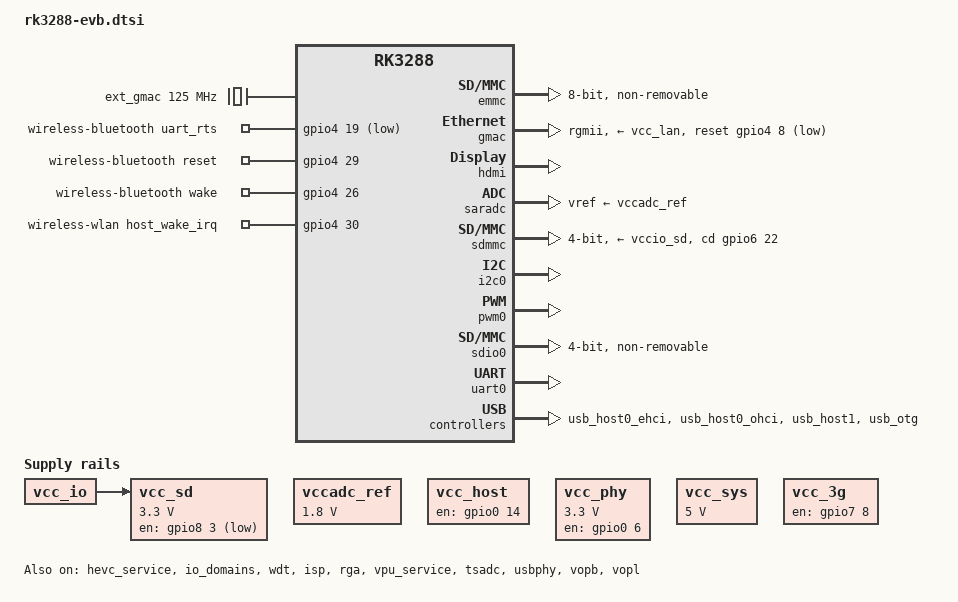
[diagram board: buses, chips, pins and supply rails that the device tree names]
/*
 * Copyright (c) 2015~2017 Fuzhou Rockchip Electronics Co., Ltd
 *
 * This file is dual-licensed: you can use it either under the terms
 * of the GPL or the X11 license, at your option. Note that this dual
 * licensing only applies to this file, and not this project as a
 * whole.
 *
 *  a) This file is free software; you can redistribute it and/or
 *     modify it under the terms of the GNU General Public License as
 *     published by the Free Software Foundation; either version 2 of the
 *     License, or (at your option) any later version.
 *
 *     This file is distributed in the hope that it will be useful,
 *     but WITHOUT ANY WARRANTY; without even the implied warranty of
 *     MERCHANTABILITY or FITNESS FOR A PARTICULAR PURPOSE.  See the
 *     GNU General Public License for more details.
 *
 * Or, alternatively,
 *
 *  b) Permission is hereby granted, free of charge, to any person
 *     obtaining a copy of this software and associated documentation
 *     files (the "Software"), to deal in the Software without
 *     restriction, including without limitation the rights to use,
 *     copy, modify, merge, publish, distribute, sublicense, and/or
 *     sell copies of the Software, and to permit persons to whom the
 *     Software is furnished to do so, subject to the following
 *     conditions:
 *
 *     The above copyright notice and this permission notice shall be
 *     included in all copies or substantial portions of the Software.
 *
 *     THE SOFTWARE IS PROVIDED "AS IS", WITHOUT WARRANTY OF ANY KIND,
 *     EXPRESS OR IMPLIED, INCLUDING BUT NOT LIMITED TO THE WARRANTIES
 *     OF MERCHANTABILITY, FITNESS FOR A PARTICULAR PURPOSE AND
 *     NONINFRINGEMENT. IN NO EVENT SHALL THE AUTHORS OR COPYRIGHT
 *     HOLDERS BE LIABLE FOR ANY CLAIM, DAMAGES OR OTHER LIABILITY,
 *     WHETHER IN AN ACTION OF CONTRACT, TORT OR OTHERWISE, ARISING
 *     FROM, OUT OF OR IN CONNECTION WITH THE SOFTWARE OR THE USE OR
 *     OTHER DEALINGS IN THE SOFTWARE.
 */

#include <dt-bindings/pwm/pwm.h>
#include <dt-bindings/input/input.h>
#include "rk3288.dtsi"

/ {
	edp_panel: edp-panel {
		status = "disabled";

		ports {
			panel_in_edp: endpoint {
				remote-endpoint = <&edp_out_panel>;
			};
		};
	};

	lvds_panel: lvds-panel {
		status = "disabled";
		pinctrl-0 = <&lcd_cs>;
		ports {
			panel_in_lvds: endpoint {
				remote-endpoint = <&lvds_out_panel>;
			};
		};
	};

	ext_gmac: external-gmac-clock {
		compatible = "fixed-clock";
		clock-frequency = <125000000>;
		clock-output-names = "ext_gmac";
		#clock-cells = <0>;
	};

	vccadc_ref: vccadc-ref {
		compatible = "regulator-fixed";
		regulator-name = "vcc1v8_sys";
		regulator-always-on;
		regulator-boot-on;
		regulator-min-microvolt = <1800000>;
		regulator-max-microvolt = <1800000>;
	};

	/* This turns on USB vbus for both host0 (ehci) and host1 (dwc2) */
	vcc_host: vcc-host-regulator {
		compatible = "regulator-fixed";
		enable-active-high;
		gpio = <&gpio0 14 GPIO_ACTIVE_HIGH>;
		pinctrl-names = "default";
		pinctrl-0 = <&host_vbus_drv>;
		regulator-name = "vcc_host";
		regulator-always-on;
		regulator-boot-on;
	};

	vcc_phy: vcc-phy-regulator {
		compatible = "regulator-fixed";
		enable-active-high;
		gpio = <&gpio0 6 GPIO_ACTIVE_HIGH>;
		pinctrl-names = "default";
		pinctrl-0 = <&eth_phy_pwr>;
		regulator-name = "vcc_phy";
		regulator-min-microvolt = <3300000>;
		regulator-max-microvolt = <3300000>;
		regulator-always-on;
		regulator-boot-on;
	};

	vcc_sys: vsys-regulator {
		compatible = "regulator-fixed";
		regulator-name = "vcc_sys";
		regulator-min-microvolt = <5000000>;
		regulator-max-microvolt = <5000000>;
		regulator-always-on;
		regulator-boot-on;
	};

	/* This switch DIO3222 HOST_DP_HOST to host2 (dwc2) */
	vcc_3g: vcc-3g-regulator {
		compatible = "regulator-fixed";
		enable-active-high;
		gpio = <&gpio7 8 GPIO_ACTIVE_HIGH>;
		pinctrl-names = "default";
		pinctrl-0 = <&pwr_3g>;
		regulator-name = "vcc_3g";
	};

	/*
	 * NOTE: vcc_sd isn't hooked up on v1.0 boards where power comes from
	 * vcc_io directly.  Those boards won't be able to power cycle SD cards
	 * but it shouldn't hurt to toggle this pin there anyway.
	 */
	vcc_sd: sdmmc-regulator {
		compatible = "regulator-fixed";
		pinctrl-names = "default";
		gpio = <&gpio8 3 GPIO_ACTIVE_HIGH>;
		pinctrl-0 = <&sdmmc_pwr>;
		regulator-name = "vcc_sd";
		regulator-min-microvolt = <3300000>;
		regulator-max-microvolt = <3300000>;
		startup-delay-us = <100000>;
		vin-supply = <&vcc_io>;
	};
	
	/*adc-keys {
		compatible = "adc-keys";
		io-channels = <&saradc 1>;
		io-channel-names = "buttons";
		poll-interval = <100>;
		keyup-threshold-microvolt = <200000>;

		button-up {
			label = "Volume Up";
			linux,code = <KEY_VOLUMEUP>;
			press-threshold-microvolt = <18000>;
		};
	};*/

	wireless-bluetooth {
		compatible = "bluetooth-platdata";
		uart_rts_gpios = <&gpio4 19 GPIO_ACTIVE_LOW>;
		pinctrl-names = "default", "rts_gpio";
		pinctrl-0 = <&uart0_rts>;
		pinctrl-1 = <&uart0_gpios>;
		BT,reset_gpio    = <&gpio4 29 GPIO_ACTIVE_HIGH>;
		BT,wake_gpio     = <&gpio4 26 GPIO_ACTIVE_HIGH>;
		//BT,wake_host_irq = <&gpio4 31 GPIO_ACTIVE_HIGH>;
		status = "okay";
	};

	wireless-wlan {
		compatible = "wlan-platdata";
		rockchip,grf = <&grf>;
		wifi_chip_type = "ap6255";
		sdio_vref = <1800>;
		WIFI,host_wake_irq = <&gpio4 30 GPIO_ACTIVE_HIGH>;
		status = "okay";
	};
};

&emmc {
	bus-width = <8>;
	cap-mmc-highspeed;
	disable-wp;
	non-removable;
	num-slots = <1>;
	pinctrl-names = "default";
	pinctrl-0 = <&emmc_clk &emmc_cmd &emmc_pwr &emmc_bus8>;
	max-frequency = <100000000>;
	mmc-hs200-1_8v;
	mmc-ddr-1_8v;
	status = "okay";
};

&gmac {
	phy-supply = <&vcc_lan>;
	phy-mode = "rgmii";
	clock_in_out = "input";
	snps,reset-gpio = <&gpio4 8 0>;
	snps,reset-active-low;
	snps,force_thresh_dma_mode;
	snps,reset-delays-us = <0 10000 1000000>;
	assigned-clocks = <&cru SCLK_MAC>;
	assigned-clock-parents = <&ext_gmac>;
	pinctrl-names = "default";
	pinctrl-0 = <&rgmii_pins &phy_rst &phy_pmeb &phy_int>;
	tx_delay = <0x20>;
	rx_delay = <0x14>;
	max-speed = <1000>;
	status = "ok";
};

&hdmi {
	#address-cells = <1>;
	#size-cells = <0>;
	#sound-dai-cells = <0>;
	status = "okay";
};

&saradc {
	vref-supply = <&vccadc_ref>;
	status = "okay";
};

&sdmmc {
	clock-frequency = <50000000>;
	supports-sd;
	bus-width = <4>;
	cap-mmc-highspeed; 
	cap-sd-highspeed;
	//sd-uhs-sdr104;
	cd-gpios = <&gpio6 22 GPIO_ACTIVE_HIGH>;/*CD GPIO*/
	broken-cd;
	card-detect-delay = <200>;
	vqmmc-supply = <&vcc_sd>;
	vmmc-supply = <&vccio_sd>;
	ignore-pm-notify;
  	keep-power-in-suspend;
	pinctrl-names = "default";
	pinctrl-0 = <&sdmmc_clk &sdmmc_cmd &sdmmc_cd &sdmmc_bus4>;
	status = "okay";
};

&edp {
	force-hpd;
	status = "disabled";

	ports {
		edp_out: port@1 {
			reg = <1>;
			#address-cells = <1>;
			#size-cells = <0>;
			edp_out_panel: endpoint {
				reg = <0>;
				remote-endpoint = <&panel_in_edp>;
			};
		};
	};
};

&hevc_service {
	status = "okay";
};

&i2c0 {
	status = "okay";
};

&io_domains {
	status = "okay";

	sdcard-supply = <&vccio_sd>;
	wifi-supply = <&vcc_18>;
};

&wdt {
	status = "okay";
};

&pwm0 {
	status = "okay";
};

&isp {
	status = "okay";
};

&isp_mmu {
	status = "okay";
};

&rga {
	status = "okay";
};

&sdio0 {
	status = "okay";
	//max-frequency = <150000000>;
	max-frequency = <148000000>;

	bus-width = <4>;
	cap-sd-highspeed;
	cap-sdio-irq;
	disable-wp;
	keep-power-in-suspend;
	mmc-pwrseq = <&sdio_pwrseq>;
	non-removable;
	num-slots = <1>;
	pinctrl-names = "default";
	pinctrl-0 = <&sdio0_bus4 &sdio0_cmd &sdio0_clk &sdio0_int>;
	sd-uhs-sdr104;
	supports-sdio;
};

&uart0 {
	pinctrl-names = "default";
	pinctrl-0 = <&uart0_xfer &uart0_cts>;
	status = "okay";
};

&uart2 {
	status = "disabled";
};

&vpu_service {
	status = "okay";
};

&tsadc {
	rockchip,hw-tshut-polarity = <0>; /* tshut polarity 0:LOW 1:HIGH */
	status = "okay";
};

&usbphy {
	status = "okay";
};

&usb_host0_ehci {
	rockchip-relinquish-port;
	status = "okay";
};

&usb_host0_ohci {
	status = "okay";
};

&usb_host1 {
	status = "okay";
};

&usb_otg {
	status = "okay";
};

&lvds {
	status = "disabled";
	ports {
		lvds_out: port@1 {
			reg = <1>;
			#address-cells = <1>;
			#size-cells = <0>;

			lvds_out_panel: endpoint@0 {
				reg = <0>;
				remote-endpoint = <&panel_in_lvds>;
			};
		};
	};
};

&vopb {
	status = "okay";
};

&vopb_mmu {
	status = "okay";
};

&vopl {
	status = "okay";
};

&vopl_mmu {
	status = "okay";
};

&pinctrl {
	pcfg_output_high: pcfg-output-high {
		output-high;
	};

	pcfg_output_low: pcfg-output-low {
		output-low;
	};
	
	pcfg_pull_none_drv_8ma: pcfg-pull-none-drv-8ma {
		drive-strength = <8>;
	};

	pcfg_pull_up_drv_8ma: pcfg-pull-up-drv-8ma {
		bias-pull-up;
		drive-strength = <8>;
	};

	pmic {
		pmic_int: pmic-int {
			rockchip,pins = <RK_GPIO0 4 RK_FUNC_GPIO &pcfg_pull_up>;
		};
	};

	sdio-pwrseq {
		wifi_enable_h: wifi-enable-h {
			rockchip,pins = <4 28 RK_FUNC_GPIO &pcfg_pull_none>;
		};
	};

	sdmmc {
		/*
		 * Default drive strength isn't enough to achieve even
		 * high-speed mode on EVB board so bump up to 8ma.
		 */
		sdmmc_bus4: sdmmc-bus4 {
			rockchip,pins = <6 16 RK_FUNC_1 &pcfg_pull_up_drv_8ma>,
					<6 17 RK_FUNC_1 &pcfg_pull_up_drv_8ma>,
					<6 18 RK_FUNC_1 &pcfg_pull_up_drv_8ma>,
					<6 19 RK_FUNC_1 &pcfg_pull_up_drv_8ma>;
		};

		sdmmc_clk: sdmmc-clk {
			rockchip,pins = <6 20 RK_FUNC_1 &pcfg_pull_none_drv_8ma>;
		};

		sdmmc_cmd: sdmmc-cmd {
			rockchip,pins = <6 21 RK_FUNC_1 &pcfg_pull_up_drv_8ma>;
		};

		sdmmc_pwr: sdmmc-pwr {
			rockchip,pins = <7 11 RK_FUNC_GPIO &pcfg_pull_none>;
		};
	};

	usb {
		host_vbus_drv: host-vbus-drv {
			rockchip,pins = <0 14 RK_FUNC_GPIO &pcfg_pull_none>;
		};

		pwr_3g: pwr-3g {
			rockchip,pins = <7 8 RK_FUNC_GPIO &pcfg_pull_none>;
		};
	};
	
	act8846 {
		pmic_vsel: pmic-vsel {
			rockchip,pins = <7 14 RK_FUNC_GPIO &pcfg_output_low>;
		};

		pwr_hold: pwr-hold {
			rockchip,pins = <0 6 RK_FUNC_GPIO &pcfg_output_high>;
		};
	};
	
	gmac {
		phy_int: phy-int {
			rockchip,pins = <0 9 RK_FUNC_GPIO &pcfg_pull_up>;
		};

		phy_pmeb: phy-pmeb {
			rockchip,pins = <0 8 RK_FUNC_GPIO &pcfg_pull_up>;
		};

		phy_rst: phy-rst {
			rockchip,pins = <4 8 RK_FUNC_GPIO &pcfg_output_high>;
		};
	};

	hym8563 {
		rtc_int: rtc-int {
			rockchip,pins = <7 4 RK_FUNC_GPIO &pcfg_pull_up>;
		};
	};

	eth_phy {
		eth_phy_pwr: eth-phy-pwr {
			rockchip,pins = <0 6 RK_FUNC_GPIO &pcfg_pull_none>;
		};
	};

	lcd {
		lcd_cs: lcd-cs {
			rockchip,pins = <7 4 RK_FUNC_GPIO &pcfg_pull_none>;
		};
	};
	
	wireless-bluetooth {
		uart0_gpios: uart0-gpios {
			rockchip,pins = <4 19 RK_FUNC_GPIO &pcfg_pull_none>;
		};
	};
};
